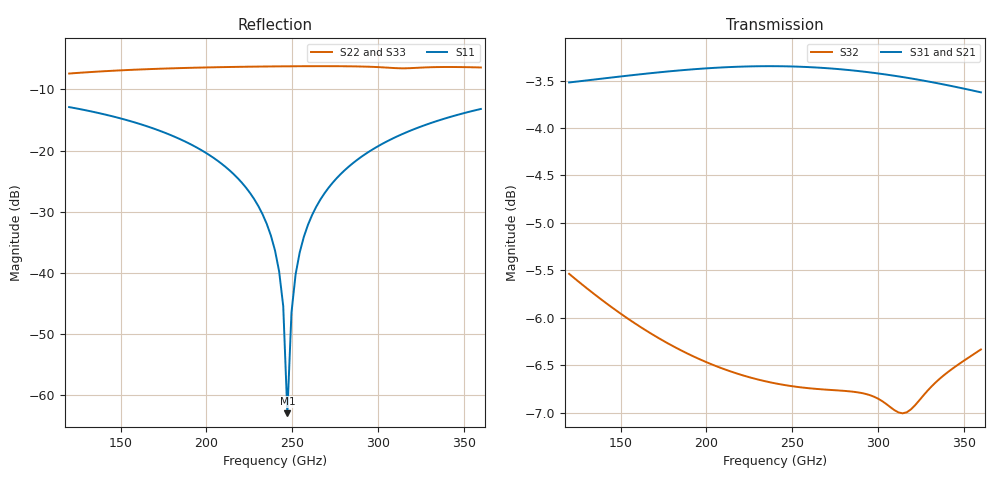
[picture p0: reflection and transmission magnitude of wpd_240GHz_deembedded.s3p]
! Created with skrf 2.2.0 (http://scikit-rf.org).
# GHz S DB R 50.0
! Port[1] = P1
! Port[2] = P2
! Port[3] = P3
!freq dBS11 angS11 dBS12 angS12 dBS13 angS13
! dBS21 angS21 dBS22 angS22 dBS23 angS23
! dBS31 angS31 dBS32 angS32 dBS33 angS33
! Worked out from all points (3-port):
!   101 points, 120 GHz to 360 GHz, reference 50 ohm
!   strongest paths, dB at 120 GHz, 180 GHz, 240 GHz, 300 GHz, 360 GHz:
!     S31: -3.5, -3.4, -3.3, -3.4, -3.6
!     S21: -3.5, -3.4, -3.4, -3.4, -3.6
!     S32: -5.5, -6.3, -6.7, -6.9, -6.3
!   lowest |S11| = -63.0 dB at 247.2 GHz (marker M1), VSWR 1.00, Z = 50.1 + j0.0383 ohm
!   |S11| at or under -10 dB: start of sweep to end of sweep
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120  -12.89 139.9  -3.52 -42.4  -3.52 -42.4
     -3.52 -42.4  -7.39 53.8  -5.54 -95.6
     -3.52 -42.4  -5.54 -95.6  -7.40 53.8
204  -21.16 111.6  -3.37 -73.3  -3.37 -73.4
     -3.37 -73.3  -6.37 10.7  -6.50 -153.0
     -3.37 -73.4  -6.50 -153.0  -6.38 10.6
240  -36.37 97.2  -3.35 -87.0  -3.35 -87.0
     -3.35 -87.0  -6.22 -4.0  -6.69 -176.8
     -3.35 -87.0  -6.69 -176.8  -6.23 -4.2
244.8  -45.50 91.1  -3.35 -88.8  -3.35 -88.9
       -3.35 -88.8  -6.21 -5.9  -6.71 -179.9
       -3.35 -88.9  -6.71 -179.9  -6.22 -6.1
247.2  -63.04 32.8  -3.36 -89.7  -3.35 -89.8
       -3.36 -89.7  -6.21 -6.9  -6.71 178.5
       -3.35 -89.8  -6.71 178.5  -6.22 -7.0
249.6  -46.54 -76.0  -3.36 -90.6  -3.35 -90.7
       -3.36 -90.6  -6.20 -7.8  -6.72 176.9
       -3.35 -90.7  -6.72 176.9  -6.21 -8.0
252  -40.30 -80.8  -3.36 -91.5  -3.35 -91.6
     -3.36 -91.5  -6.20 -8.8  -6.73 175.3
     -3.35 -91.6  -6.73 175.3  -6.21 -8.9
266.4  -28.06 -88.7  -3.37 -97.0  -3.36 -97.1
       -3.37 -97.0  -6.18 -14.4  -6.75 165.7
       -3.36 -97.1  -6.75 165.7  -6.19 -14.6
300  -19.30 -100.9  -3.43 -109.8  -3.42 -109.9
     -3.43 -109.8  -6.34 -27.9  -6.85 143.0
     -3.42 -109.9  -6.85 143.0  -6.35 -28.0
360  -13.19 -121.7  -3.63 -132.3  -3.62 -132.4
     -3.63 -132.3  -6.40 -51.3  -6.33 105.1
     -3.62 -132.4  -6.33 105.1  -6.41 -51.5
